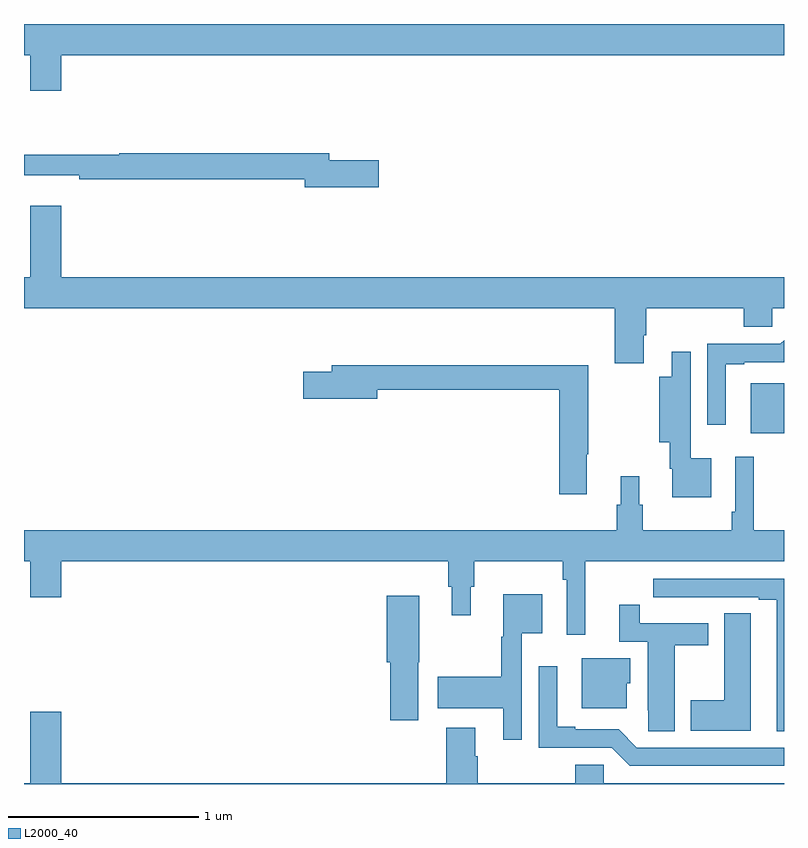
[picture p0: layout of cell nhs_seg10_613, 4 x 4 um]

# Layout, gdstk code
import gdstk
lib = gdstk.Library(unit=1e-6, precision=1e-09)
def R(c, l, rs):  # rectangles x0, y0, x1, y1
    for r in rs: c.add(gdstk.rectangle(r[:2], r[2:], *l))
def P(c, l, *ps):  # polygons
    for p in ps: c.add(gdstk.Polygon(p, *l))
L2000_40 = (2000, 40)

nhs_seg10_613 = lib.new_cell('nhs_seg10_613')
R(nhs_seg10_613, L2000_40, [(144.824,1278.347,145,1278.61)])
P(nhs_seg10_613, L2000_40, [(141.196,1280.336),(145,1280.336),(145,1280.5),(141,1280.5),(141,1280.336),(141.032,1280.336),(141.032,1280.148),(141.196,1280.148)],
  [(142.867,1279.784),(142.606,1279.784),(142.606,1279.82),(141.502,1279.82),(141.502,1279.813),(141,1279.813),(141,1279.703),(141.292,1279.703),(141.292,1279.684),(142.478,1279.684),(142.478,1279.642),(142.867,1279.642)],
  [(144.262,1278.862),(144.275,1278.862),(144.275,1279.004),(144.788,1279.004),(144.788,1278.906),(144.939,1278.906),(144.939,1279.004),(145,1279.004),(145,1279.168),(141.196,1279.168),(141.196,1279.543),(141.032,1279.543),(141.032,1279.168),(141,1279.168),(141,1279.004),(144.11,1279.004),(144.11,1278.714),(144.262,1278.714)],
  [(144.694,1278.708),(144.79,1278.708),(144.79,1278.72),(145,1278.72),(145,1278.835),(144.981,1278.816),(144.597,1278.816),(144.597,1278.39),(144.694,1278.39)],
  [(144.616,1278.214),(144.51,1278.214),(144.51,1278.539),(144.508,1278.539),(144.508,1278.775),(144.41,1278.775),(144.41,1278.643),(144.343,1278.643),(144.343,1278.299),(144.399,1278.299),(144.399,1278.158),(144.411,1278.158),(144.411,1278.008),(144.616,1278.008)],
  [(143.962,1278.236),(143.97,1278.236),(143.97,1278.703),(142.619,1278.703),(142.619,1278.669),(142.47,1278.669),(142.47,1278.527),(142.858,1278.527),(142.858,1278.574),(143.816,1278.574),(143.816,1278.024),(143.962,1278.024)],
  [(143.954,1277.672),(145,1277.672),(145,1277.836),(144.842,1277.836),(144.842,1278.223),(144.744,1278.223),(144.744,1277.932),(144.724,1277.932),(144.724,1277.836),(144.257,1277.836),(144.257,1277.97),(144.238,1277.97),(144.238,1278.121),(144.14,1278.121),(144.14,1277.97),(144.121,1277.97),(144.121,1277.836),(141,1277.836),(141,1277.672),(141.032,1277.672),(141.032,1277.484),(141.196,1277.484),(141.196,1277.672),(143.233,1277.672),(143.233,1277.538),(143.252,1277.538),(143.252,1277.388),(143.35,1277.388),(143.35,1277.538),(143.369,1277.538),(143.369,1277.672),(143.836,1277.672),(143.836,1277.576),(143.856,1277.576),(143.856,1277.286),(143.954,1277.286)],
  [(145,1277.58),(144.312,1277.58),(144.312,1277.484),(144.424,1277.484),(144.424,1277.483),(144.59,1277.483),(144.59,1277.484),(144.866,1277.484),(144.866,1277.469),(144.962,1277.469),(144.962,1276.777),(145,1276.777)],
  [(143.619,1277.294),(143.728,1277.294),(143.728,1277.5),(143.522,1277.5),(143.522,1277.274),(143.511,1277.274),(143.511,1277.064),(143.178,1277.064),(143.178,1276.898),(143.522,1276.898),(143.522,1276.734),(143.619,1276.734)],
  [(143.074,1277.142),(143.08,1277.142),(143.08,1277.491),(142.91,1277.491),(142.91,1277.142),(142.928,1277.142),(142.928,1276.836),(143.074,1276.836)],
  [(144.424,1277.23),(144.601,1277.23),(144.601,1277.346),(144.242,1277.346),(144.242,1277.443),(144.134,1277.443),(144.134,1277.25),(144.284,1277.25),(144.284,1276.888),(144.285,1276.888),(144.285,1276.777),(144.424,1276.777)],
  [(144.826,1277.291),(144.825,1277.291),(144.825,1277.399),(144.686,1277.399),(144.686,1276.941),(144.509,1276.941),(144.509,1276.781),(144.826,1276.781)],
  [(144.172,1277.031),(144.19,1277.031),(144.19,1277.161),(143.936,1277.161),(143.936,1276.898),(144.172,1276.898)],
  [(145,1276.692),(144.225,1276.692),(144.129,1276.788),(143.902,1276.788),(143.902,1276.801),(143.806,1276.801),(143.806,1277.119),(143.709,1277.119),(143.709,1276.692),(144.093,1276.692),(144.189,1276.596),(145,1276.596)],
  [(145,1276.504),(144.051,1276.504),(144.051,1276.602),(143.9,1276.602),(143.9,1276.504),(143.387,1276.504),(143.387,1276.646),(143.374,1276.646),(143.374,1276.795),(143.222,1276.795),(143.222,1276.504),(141.196,1276.504),(141.196,1276.879),(141.032,1276.879),(141.032,1276.504),(141,1276.504),(141,1276.5),(145,1276.5)])

lib.write_gds('nhs_seg10_613.gds')
